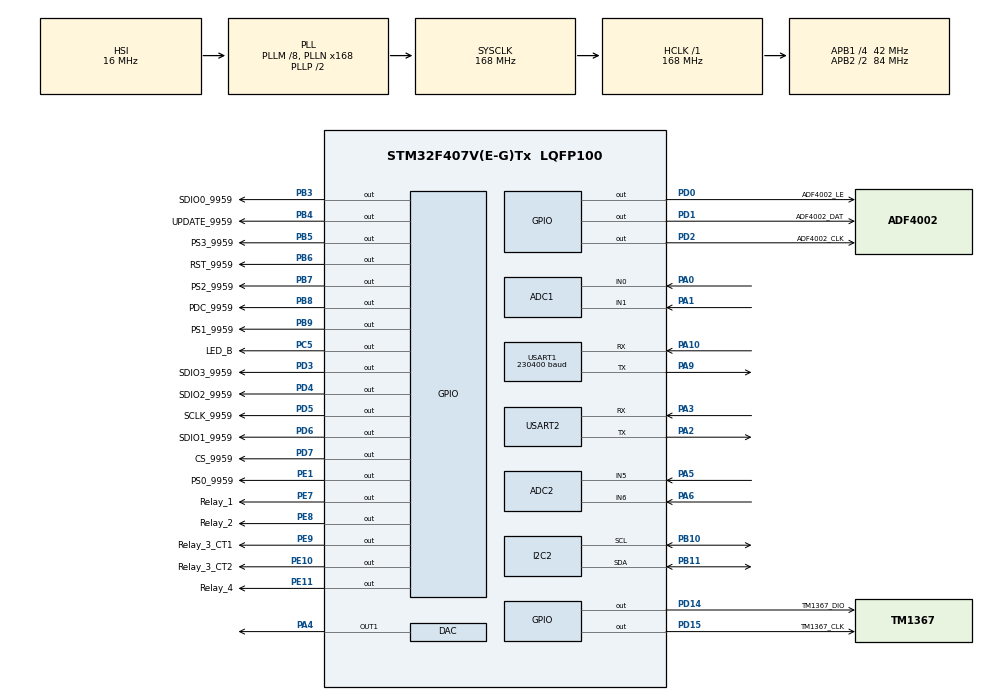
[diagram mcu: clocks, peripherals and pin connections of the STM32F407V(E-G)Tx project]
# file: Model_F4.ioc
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ADC1.Channel-0\#ChannelRegularConversion=ADC_CHANNEL_0
ADC1.ClockPrescaler=ADC_CLOCK_SYNC_PCLK_DIV4
ADC1.ExternalTrigConv=ADC_EXTERNALTRIGCONV_T2_TRGO
ADC1.NbrOfConversionFlag=1
ADC1.Rank-0\#ChannelRegularConversion=1
ADC1.SamplingTime-0\#ChannelRegularConversion=ADC_SAMPLETIME_15CYCLES
ADC1.master=1
ADC2.Channel-1\#ChannelRegularConversion=ADC_CHANNEL_5
ADC2.ExternalTrigConv=ADC_EXTERNALTRIGCONV_T3_TRGO
ADC2.NbrOfConversionFlag=1
ADC2.Rank-1\#ChannelRegularConversion=1
ADC2.SamplingTime-1\#ChannelRegularConversion=ADC_SAMPLETIME_3CYCLES
Dma.ADC1.0.Direction=DMA_PERIPH_TO_MEMORY
Dma.ADC1.0.FIFOMode=DMA_FIFOMODE_DISABLE
Dma.ADC1.0.Instance=DMA2_Stream0
Dma.ADC1.0.MemDataAlignment=DMA_MDATAALIGN_HALFWORD
Dma.ADC1.0.MemInc=DMA_MINC_ENABLE
Dma.ADC1.0.Mode=DMA_NORMAL
Dma.ADC1.0.PeriphDataAlignment=DMA_PDATAALIGN_HALFWORD
Dma.ADC1.0.PeriphInc=DMA_PINC_DISABLE
Dma.ADC1.0.Priority=DMA_PRIORITY_LOW
Dma.ADC2.1.Direction=DMA_PERIPH_TO_MEMORY
Dma.ADC2.1.FIFOMode=DMA_FIFOMODE_DISABLE
Dma.ADC2.1.Instance=DMA2_Stream2
Dma.ADC2.1.MemDataAlignment=DMA_MDATAALIGN_HALFWORD
Dma.ADC2.1.MemInc=DMA_MINC_ENABLE
Dma.ADC2.1.Mode=DMA_NORMAL
Dma.ADC2.1.PeriphDataAlignment=DMA_PDATAALIGN_HALFWORD
Dma.ADC2.1.PeriphInc=DMA_PINC_DISABLE
Dma.ADC2.1.Priority=DMA_PRIORITY_LOW
Dma.DAC1.2.Direction=DMA_MEMORY_TO_PERIPH
Dma.DAC1.2.FIFOMode=DMA_FIFOMODE_DISABLE
Dma.DAC1.2.Instance=DMA1_Stream5
Dma.DAC1.2.MemDataAlignment=DMA_MDATAALIGN_BYTE
Dma.DAC1.2.MemInc=DMA_MINC_ENABLE
Dma.DAC1.2.Mode=DMA_NORMAL
Dma.DAC1.2.PeriphDataAlignment=DMA_PDATAALIGN_BYTE
Dma.DAC1.2.PeriphInc=DMA_PINC_DISABLE
Dma.DAC1.2.Priority=DMA_PRIORITY_LOW
Dma.Request0=ADC1
Dma.Request1=ADC2
Dma.Request2=DAC1
Dma.Request3=USART1_TX
Dma.Request4=USART1_RX
Dma.Request5=USART2_TX
Dma.USART1_RX.4.Direction=DMA_PERIPH_TO_MEMORY
Dma.USART1_RX.4.FIFOMode=DMA_FIFOMODE_DISABLE
Dma.USART1_RX.4.Instance=DMA2_Stream5
Dma.USART1_RX.4.MemDataAlignment=DMA_MDATAALIGN_BYTE
Dma.USART1_RX.4.MemInc=DMA_MINC_ENABLE
Dma.USART1_RX.4.Mode=DMA_NORMAL
Dma.USART1_RX.4.PeriphDataAlignment=DMA_PDATAALIGN_BYTE
Dma.USART1_RX.4.PeriphInc=DMA_PINC_DISABLE
Dma.USART1_RX.4.Priority=DMA_PRIORITY_LOW
Dma.USART1_TX.3.Direction=DMA_MEMORY_TO_PERIPH
Dma.USART1_TX.3.FIFOMode=DMA_FIFOMODE_DISABLE
Dma.USART1_TX.3.Instance=DMA2_Stream7
Dma.USART1_TX.3.MemDataAlignment=DMA_MDATAALIGN_BYTE
Dma.USART1_TX.3.MemInc=DMA_MINC_ENABLE
Dma.USART1_TX.3.Mode=DMA_NORMAL
Dma.USART1_TX.3.PeriphDataAlignment=DMA_PDATAALIGN_BYTE
Dma.USART1_TX.3.PeriphInc=DMA_PINC_DISABLE
Dma.USART1_TX.3.Priority=DMA_PRIORITY_LOW
Dma.USART2_TX.5.Direction=DMA_MEMORY_TO_PERIPH
Dma.USART2_TX.5.FIFOMode=DMA_FIFOMODE_DISABLE
Dma.USART2_TX.5.Instance=DMA1_Stream6
Dma.USART2_TX.5.MemDataAlignment=DMA_MDATAALIGN_BYTE
Dma.USART2_TX.5.MemInc=DMA_MINC_ENABLE
Dma.USART2_TX.5.Mode=DMA_NORMAL
Dma.USART2_TX.5.PeriphDataAlignment=DMA_PDATAALIGN_BYTE
Dma.USART2_TX.5.PeriphInc=DMA_PINC_DISABLE
Dma.USART2_TX.5.Priority=DMA_PRIORITY_LOW
Mcu.Family=STM32F4
Mcu.Name=STM32F407V(E-G)Tx
Mcu.Package=LQFP100
NVIC.ADC_IRQn=true\:0\:0\:false\:false\:true\:true\:true\:true
NVIC.DMA1_Stream5_IRQn=true\:0\:0\:false\:false\:true\:false\:true\:true
NVIC.DMA1_Stream6_IRQn=true\:0\:0\:false\:false\:true\:false\:true\:true
NVIC.DMA2_Stream0_IRQn=true\:0\:0\:false\:false\:true\:false\:true\:true
NVIC.DMA2_Stream2_IRQn=true\:0\:0\:false\:false\:true\:false\:true\:true
NVIC.DMA2_Stream5_IRQn=true\:0\:0\:false\:false\:true\:false\:true\:true
NVIC.DMA2_Stream7_IRQn=true\:0\:0\:false\:false\:true\:false\:true\:true
NVIC.PriorityGroup=NVIC_PRIORITYGROUP_4
NVIC.TIM2_IRQn=true\:0\:0\:false\:false\:true\:true\:true\:true
NVIC.TIM3_IRQn=true\:0\:0\:false\:false\:true\:true\:true\:true
NVIC.TIM6_DAC_IRQn=true\:0\:0\:false\:false\:true\:true\:true\:true
NVIC.USART1_IRQn=true\:0\:0\:false\:false\:true\:true\:true\:true
NVIC.USART2_IRQn=true\:0\:0\:false\:false\:true\:true\:true\:true
PA0-WKUP.Signal=ADCx_IN0
PA1.Signal=ADCx_IN1
PA10.Mode=Asynchronous
PA10.Signal=USART1_RX
PA13.Mode=Serial_Wire
PA13.Signal=SYS_JTMS-SWDIO
PA14.Mode=Serial_Wire
PA14.Signal=SYS_JTCK-SWCLK
PA2.Mode=Asynchronous
PA2.Signal=USART2_TX
PA3.Mode=Asynchronous
PA3.Signal=USART2_RX
PA4.Signal=COMP_DAC1_group
PA5.Signal=ADCx_IN5
PA6.Signal=ADCx_IN6
PA9.Mode=Asynchronous
PA9.Signal=USART1_TX
PB10.Mode=I2C
PB10.Signal=I2C2_SCL
PB11.Mode=I2C
PB11.Signal=I2C2_SDA
PB3.GPIO_Label=SDIO0_9959
PB3.Signal=GPIO_Output
PB4.GPIO_Label=UPDATE_9959
PB4.Signal=GPIO_Output
PB5.GPIO_Label=PS3_9959
PB5.Signal=GPIO_Output
PB6.GPIO_Label=RST_9959
PB6.Signal=GPIO_Output
PB7.GPIO_Label=PS2_9959
PB7.Signal=GPIO_Output
PB8.GPIO_Label=PDC_9959
PB8.Signal=GPIO_Output
PB9.GPIO_Label=PS1_9959
PB9.Signal=GPIO_Output
PC14-OSC32_IN.Mode=LSE-External-Oscillator
PC14-OSC32_IN.Signal=RCC_OSC32_IN
PC15-OSC32_OUT.Mode=LSE-External-Oscillator
PC15-OSC32_OUT.Signal=RCC_OSC32_OUT
PC5.GPIO_Label=LED_B
PC5.Signal=GPIO_Output
PD0.GPIO_Label=ADF4002_LE
PD0.Signal=GPIO_Output
PD1.GPIO_Label=ADF4002_DAT
PD1.Signal=GPIO_Output
PD14.GPIO_Label=TM1367_DIO
PD14.Signal=GPIO_Output
PD15.GPIO_Label=TM1367_CLK
PD15.Signal=GPIO_Output
PD2.GPIO_Label=ADF4002_CLK
PD2.Signal=GPIO_Output
PD3.GPIO_Label=SDIO3_9959
PD3.Signal=GPIO_Output
PD4.GPIO_Label=SDIO2_9959
PD4.Signal=GPIO_Output
PD5.GPIO_Label=SCLK_9959
PD5.Signal=GPIO_Output
PD6.GPIO_Label=SDIO1_9959
PD6.Signal=GPIO_Output
PD7.GPIO_Label=CS_9959
PD7.Signal=GPIO_Output
PE1.GPIO_Label=PS0_9959
PE1.Signal=GPIO_Output
PE10.GPIO_Label=Relay_3_CT2
PE10.Signal=GPIO_Output
PE11.GPIO_Label=Relay_4
PE11.Signal=GPIO_Output
PE7.GPIO_Label=Relay_1
PE7.Signal=GPIO_Output
PE8.GPIO_Label=Relay_2
PE8.Signal=GPIO_Output
PE9.GPIO_Label=Relay_3_CT1
PE9.Signal=GPIO_Output
PH0-OSC_IN.Mode=HSE-External-Oscillator
PH0-OSC_IN.Signal=RCC_OSC_IN
PH1-OSC_OUT.Mode=HSE-External-Oscillator
PH1-OSC_OUT.Signal=RCC_OSC_OUT
ProjectManager.HeapSize=0x200
ProjectManager.StackSize=0x400
ProjectManager.TargetToolchain=CMake
RCC.48MHZClocksFreq_Value=84000000
RCC.AHBFreq_Value=168000000
RCC.APB1CLKDivider=RCC_HCLK_DIV4
RCC.APB1Freq_Value=42000000
RCC.APB1TimFreq_Value=84000000
RCC.APB2CLKDivider=RCC_HCLK_DIV2
RCC.APB2Freq_Value=84000000
RCC.APB2TimFreq_Value=168000000
RCC.CortexFreq_Value=168000000
RCC.HCLKFreq_Value=168000000
RCC.HSE_VALUE=25000000
RCC.HSI_VALUE=16000000
RCC.PLLM=8
RCC.PLLN=168
RCC.SYSCLKFreq_VALUE=168000000
RCC.SYSCLKSource=RCC_SYSCLKSOURCE_PLLCLK
RCC.VCOOutputFreq_Value=336000000
SH.ADCx_IN0.0=ADC1_IN0,IN0
SH.ADCx_IN1.0=ADC1_IN1,IN1
SH.ADCx_IN5.0=ADC2_IN5,IN5
SH.ADCx_IN6.0=ADC2_IN6,IN6
SH.COMP_DAC1_group.0=DAC_OUT1,DAC_OUT1
TIM2.AutoReloadPreload=TIM_AUTORELOAD_PRELOAD_DISABLE
TIM2.Period=407
TIM2.TIM_MasterOutputTrigger=TIM_TRGO_UPDATE
TIM2.TIM_MasterSlaveMode=TIM_MASTERSLAVEMODE_ENABLE
TIM3.Period=81
TIM3.Prescaler=0
TIM3.TIM_MasterOutputTrigger=TIM_TRGO_UPDATE
TIM3.TIM_MasterSlaveMode=TIM_MASTERSLAVEMODE_ENABLE
USART1.BaudRate=230400
USART1.VirtualMode=VM_ASYNC
USART2.VirtualMode=VM_ASYNC
VP_TIM2_VS_ClockSourceINT.Mode=Internal
VP_TIM3_VS_ClockSourceINT.Mode=Internal
board=custom

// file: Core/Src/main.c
/* USER CODE BEGIN Header */
/**
  ******************************************************************************
  * @file           : main.c
  * @brief          : Main program body
  ******************************************************************************
  * @attention
  *
  * Copyright (c) 2026 STMicroelectronics.
  * All rights reserved.
  *
  * This software is licensed under terms that can be found in the LICENSE file
  * in the root directory of this software component.
  * If no LICENSE file comes with this software, it is provided AS-IS.
  *
  ******************************************************************************
  */
/* USER CODE END Header */
#include "main.h"
#include "adc.h"
#include "dac.h"
#include "dma.h"
#include "i2c.h"
#include "tim.h"
#include "usart.h"
#include "gpio.h"

/* USER CODE BEGIN Includes */
#include "ad9959.h"
#include "Phase.h"
#include "ZPN_Uart.h"
#include "adf4002.h"
#include "Phase.h"
#include "DFT.h"
#include "WindowFunction.h"
#include "Modulation.h"
#include "ZPN_Hmi.h"
#include "ModRecognizer.h"
/* USER CODE END Includes */

void SystemClock_Config(void);
/* USER CODE BEGIN PFP */
static void Relay_SetByType(MR_ModType_t type);
/* USER CODE END PFP */

int main(void)
{

  /* MCU Configuration--------------------------------------------------------*/

  /* Reset of all peripherals, Initializes the Flash interface and the Systick. */
  HAL_Init();

  /* Configure the system clock */
  SystemClock_Config();

  /* Initialize all configured peripherals */
  MX_GPIO_Init();
  MX_DMA_Init();
  MX_ADC1_Init();
  MX_DAC_Init();
  MX_I2C2_Init();
  MX_USART1_UART_Init();
  MX_USART2_UART_Init();
  MX_ADC2_Init();
  MX_TIM3_Init();
  MX_TIM2_Init();
  /* USER CODE BEGIN 2 */
  ZPN_UART_Init();
  Init_AD9959();

  InitADF4002();
  RDivideTest(2);
  NDivideTest(2);

  FFT_App_Init();
  AD9959_SetChannel(0,1000,0,1950000);
  AD9959_IO_Update();

  MR_Init();

  /* USER CODE END 2 */

  /* Infinite loop */
  while (1)
  {

    /* USER CODE BEGIN 3 */
    HAL_GPIO_TogglePin(LED_B_GPIO_Port, LED_B_Pin);

    /* 持续识别 + UART1 发送 + 20帧窗口 */
    {
        static MR_ModType_t type_hist[20] = {0};
        static uint8_t hist_idx = 0;
        static MR_Result_t last_r[6];  /* 各类型最近一帧参数 */

        MR_Result_t r = MR_Process();
        if (r.type != MR_TYPE_NONE) {
            MR_SendResult(&r);
            type_hist[hist_idx] = r.type;
            hist_idx = (hist_idx + 1) % 20;
            if (r.type <= MR_TYPE_2FSK) last_r[r.type] = r;  /* 保存参数 */

            /* PB12 按键: 按下瞬间投票并更新 HMI */
            static uint8_t last_key = 0;
            uint8_t key = HAL_GPIO_ReadPin(GPIOB, GPIO_PIN_12);
            if (key && !last_key) {
                HAL_GPIO_TogglePin(GPIOB, GPIO_PIN_2);

                /* 20帧窗口投票 */
                uint8_t cnt[6] = {0};
                for (int i = 0; i < 20; i++)
                    if (type_hist[i] <= MR_TYPE_2FSK) cnt[type_hist[i]]++;

                MR_ModType_t result_type = MR_TYPE_FM;
                uint8_t max_cnt = 0;
                for (int t = 0; t < 6; t++)
                    if (cnt[t] > max_cnt) { max_cnt = cnt[t]; result_type = (MR_ModType_t)t; }

                /* FM/2FSK 同时存在 → FM需>80% */
                if (cnt[MR_TYPE_FM] > 0 && cnt[MR_TYPE_2FSK] > 0)
                    result_type = (cnt[MR_TYPE_FM] > 16) ? MR_TYPE_FM : MR_TYPE_2FSK;
                /* 仅 2PSK+FM → 选 2PSK */
                if (cnt[MR_TYPE_2PSK] > 0 && cnt[MR_TYPE_FM] > 0 && cnt[MR_TYPE_2FSK] == 0)
                    result_type = MR_TYPE_2PSK;
                /* 仅 2ASK+2FSK → 选 2FSK */
                if (cnt[MR_TYPE_2ASK] > 0 && cnt[MR_TYPE_2FSK] > 0
                    && cnt[MR_TYPE_CW] == 0 && cnt[MR_TYPE_AM] == 0
                    && cnt[MR_TYPE_2PSK] == 0 && cnt[MR_TYPE_FM] == 0)
                    result_type = MR_TYPE_2FSK;

                static const char *names[] = {"CW","AM","2ASK","2PSK","FM","2FSK"};

                HMI_SetText("t1", names[result_type]);
                Relay_SetByType(result_type);

                MR_Result_t *p = &last_r[result_type];

                switch (result_type) {
            case MR_TYPE_CW:
                HAL_GPIO_WritePin(GPIOE, Relay_2_Pin|Relay_3_CT1_Pin|Relay_3_CT2_Pin|Relay_4_Pin, GPIO_PIN_RESET);
                HAL_GPIO_WritePin(GPIOE, Relay_1_Pin, GPIO_PIN_SET);
                HMI_SetFloat("x0", 0.0f, 1);
                HMI_SetFloat("x1", 0.0f, 1);
                HMI_SetFloat("x2", 0.0f, 1);
                HMI_SetFloat("x3", 0.0f, 1);
                HMI_SetFloat("x5", 0.0f, 1);
                break;
            case MR_TYPE_AM: {
                float ma_cal = p->ma;
                if (p->ma < 85.0f) ma_cal += 10.0f;
                if (p->ma < 60.0f) ma_cal += 5.0f;
                HMI_SetFloat("x0", ma_cal, 1);
                HMI_SetFloat("x1", 0.0f, 1);
                HMI_SetFloat("x2", 0.0f, 1);
                HMI_SetFloat("x3", 0.0f, 1);
                HMI_SetFloat("x5", roundf(p->fm / 1000.0f) * 10.0f, 2);
                break;
            }
            case MR_TYPE_FM:
                HMI_SetFloat("x0", p->mf * 100.0f, 1);
                HMI_SetFloat("x1", p->df / 100.0f, 2);
                HMI_SetFloat("x2", 0.0f, 1);
                HMI_SetFloat("x3", 0.0f, 1);
                HMI_SetFloat("x5", roundf(p->fm / 1000.0f) * 10.0f, 2);
                break;
            case MR_TYPE_2ASK:
                HMI_SetFloat("x0", 0.0f, 1);
                HMI_SetFloat("x1", 0.0f, 1);
                HMI_SetFloat("x2", roundf(p->baud / 1000.0f) * 20.0f, 2);
                HMI_SetFloat("x3", 0.0f, 1);
                HMI_SetFloat("x5", 0.0f, 1);
                break;
            case MR_TYPE_2PSK:
                HMI_SetFloat("x0", 0.0f, 1);
                HMI_SetFloat("x1", 0.0f, 1);
                HMI_SetFloat("x2", roundf(p->baud / 1000.0f) * 20.0f, 2);
                HMI_SetFloat("x3", 0.0f, 1);
                HMI_SetFloat("x5", 0.0f, 1);
                break;
            case MR_TYPE_2FSK:
                HMI_SetFloat("x0", 0.0f, 1);
                HMI_SetFloat("x1", 0.0f, 1);
                HMI_SetFloat("x2", roundf(p->baud / 1000.0f) * 20.0f, 2);
                HMI_SetFloat("x3", p->h * 5.0f, 2);
                HMI_SetFloat("x5", 0.0f, 1);
                break;
            default:
                break;
            }
        }
        last_key = key;
    }
  }
  }
  /* USER CODE END 3 */
}

void SystemClock_Config(void)
{
  RCC_OscInitTypeDef RCC_OscInitStruct = {0};
  RCC_ClkInitTypeDef RCC_ClkInitStruct = {0};

  /** Configure the main internal regulator output voltage
  */
  __HAL_RCC_PWR_CLK_ENABLE();
  __HAL_PWR_VOLTAGESCALING_CONFIG(PWR_REGULATOR_VOLTAGE_SCALE1);

  /** Initializes the RCC Oscillators according to the specified parameters
  * in the RCC_OscInitTypeDef structure.
  */
  RCC_OscInitStruct.OscillatorType = RCC_OSCILLATORTYPE_HSI;
  RCC_OscInitStruct.HSIState = RCC_HSI_ON;
  RCC_OscInitStruct.HSICalibrationValue = RCC_HSICALIBRATION_DEFAULT;
  RCC_OscInitStruct.PLL.PLLState = RCC_PLL_ON;
  RCC_OscInitStruct.PLL.PLLSource = RCC_PLLSOURCE_HSI;
  RCC_OscInitStruct.PLL.PLLM = 8;
  RCC_OscInitStruct.PLL.PLLN = 168;
  RCC_OscInitStruct.PLL.PLLP = RCC_PLLP_DIV2;
  RCC_OscInitStruct.PLL.PLLQ = 4;
  if (HAL_RCC_OscConfig(&RCC_OscInitStruct) != HAL_OK)
  {
    Error_Handler();
  }

  /** Initializes the CPU, AHB and APB buses clocks
  */
  RCC_ClkInitStruct.ClockType = RCC_CLOCKTYPE_HCLK|RCC_CLOCKTYPE_SYSCLK
                              |RCC_CLOCKTYPE_PCLK1|RCC_CLOCKTYPE_PCLK2;
  RCC_ClkInitStruct.SYSCLKSource = RCC_SYSCLKSOURCE_PLLCLK;
  RCC_ClkInitStruct.AHBCLKDivider = RCC_SYSCLK_DIV1;
  RCC_ClkInitStruct.APB1CLKDivider = RCC_HCLK_DIV4;
  RCC_ClkInitStruct.APB2CLKDivider = RCC_HCLK_DIV2;

  if (HAL_RCC_ClockConfig(&RCC_ClkInitStruct, FLASH_LATENCY_5) != HAL_OK)
  {
    Error_Handler();
  }
}

/* USER CODE BEGIN 4 */

static void Relay_SetByType(MR_ModType_t type)
{
    switch (type) {
    case MR_TYPE_CW:
        HAL_GPIO_WritePin(GPIOE, Relay_2_Pin|Relay_3_CT1_Pin|Relay_3_CT2_Pin|Relay_4_Pin, GPIO_PIN_RESET);
        HAL_GPIO_WritePin(GPIOE, Relay_1_Pin, GPIO_PIN_SET);
        break;
    case MR_TYPE_AM:
        HAL_GPIO_WritePin(GPIOE, Relay_1_Pin|Relay_2_Pin|Relay_3_CT1_Pin|Relay_3_CT2_Pin|Relay_4_Pin, GPIO_PIN_RESET);
        break;
    case MR_TYPE_FM:
        HAL_GPIO_WritePin(GPIOE, Relay_2_Pin, GPIO_PIN_RESET);
        HAL_GPIO_WritePin(GPIOE, Relay_1_Pin|Relay_3_CT1_Pin|Relay_3_CT2_Pin|Relay_4_Pin, GPIO_PIN_SET);
        break;
    case MR_TYPE_2ASK:
        HAL_GPIO_WritePin(GPIOE, Relay_1_Pin|Relay_3_CT1_Pin|Relay_3_CT2_Pin|Relay_4_Pin, GPIO_PIN_RESET);
        HAL_GPIO_WritePin(GPIOE, Relay_2_Pin, GPIO_PIN_SET);
        break;
    case MR_TYPE_2PSK:
        HAL_GPIO_WritePin(GPIOE, Relay_2_Pin|Relay_3_CT2_Pin, GPIO_PIN_RESET);
        HAL_GPIO_WritePin(GPIOE, Relay_1_Pin|Relay_3_CT1_Pin|Relay_4_Pin, GPIO_PIN_SET);
        break;
    case MR_TYPE_2FSK:
        HAL_GPIO_WritePin(GPIOE, Relay_2_Pin|Relay_3_CT2_Pin, GPIO_PIN_RESET);
        HAL_GPIO_WritePin(GPIOE, Relay_1_Pin|Relay_3_CT1_Pin|Relay_4_Pin, GPIO_PIN_SET);
        break;
    default:
        break;
    }
}

/* USER CODE END 4 */

void Error_Handler(void)
{
  __disable_irq();
  while (1)
  {
  }
}
